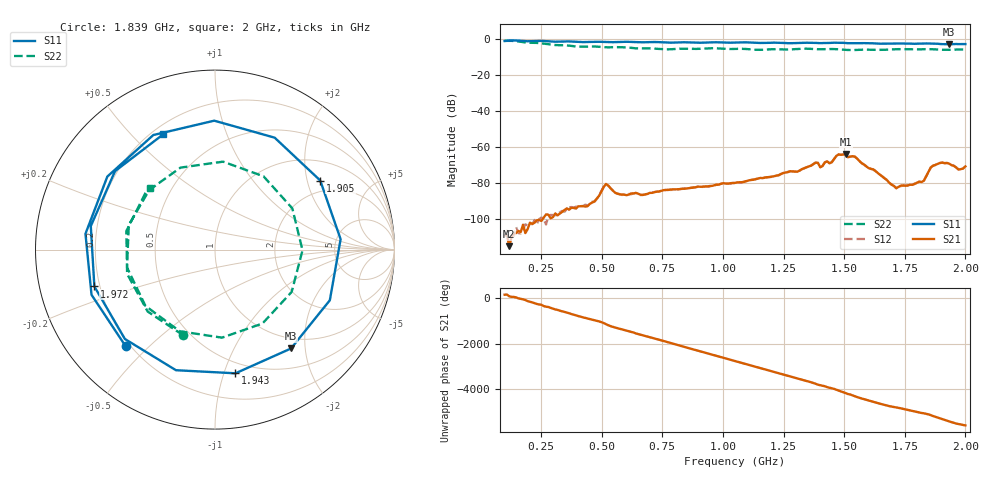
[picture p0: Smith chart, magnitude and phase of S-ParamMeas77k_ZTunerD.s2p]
!Keysight Technologies,N5242B,MY48420967,A.15.65.19
!Date: Monday, December 19, 2022 10:54:48
!Correction: S11(C  2-Port  )
!S21(C  2-Port  )
!S12(C  2-Port  )
!S22(C  2-Port  )
!S2P File: Measurements: S11, S21, S12, S22:
# Hz S  dB  R 50
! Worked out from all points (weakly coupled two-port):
!   201 points, 100 MHz to 2 GHz, reference 50 ohm
!   highest |S21| = -64.18 dB at 1.506 GHz (marker M1); lowest = -115.4 dB at 119 MHz (marker M2)
!   lowest |S11| = -3.2 dB at 1.933 GHz (marker M3), VSWR 5.55, Z = 40.7 - j86.7 ohm
!   |S11| at or under -10 dB: nowhere
!   |S22| runs from -6.4 to -1.2 dB; largest |S21 - S12| = 7.2e-06
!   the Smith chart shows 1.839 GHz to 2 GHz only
!   S11 on the Smith chart (normalised r, x): 1.839 GHz: 0.18, -0.42; 1.905 GHz: 1.59, +2.41; 1.943 GHz: 0.41, -1.09; 1.972 GHz: 0.18, -0.14; 2 GHz: 0.24, +0.62
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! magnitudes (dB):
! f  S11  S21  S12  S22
! 100 MHz  -1.3  -109.3  -109.9  -1.3
! 119 MHz  -1.1  -115.4  -108.8  -1.2
! 423 MHz  -1.9  -93.1  -93.0  -4.5
! 736.5 MHz  -2.0  -85.0  -85.0  -5.7
! 1.05 GHz  -2.2  -80.2  -80.3  -5.8
! 1.306 GHz  -2.5  -74.0  -74.1  -5.8
! 1.373 GHz  -2.4  -69.8  -69.8  -5.8
! 1.392 GHz  -2.5  -69.1  -69.1  -5.9
! 1.401 GHz  -2.5  -71.5  -71.4  -5.9
! 1.449 GHz  -2.3  -68.7  -68.7  -5.8
! 1.478 GHz  -2.4  -64.4  -64.4  -6.0
! 1.506 GHz  -2.5  -64.2  -64.2  -6.3
! 1.544 GHz  -2.6  -65.6  -65.6  -6.4
! 1.687 GHz  -2.8  -80.2  -80.1  -6.1
! 1.819 GHz  -2.8  -79.8  -79.6  -5.9
! 1.839 GHz  -2.7  -76.4  -76.4  -5.9
! 1.857 GHz  -2.8  -71.5  -71.6  -5.9
! 1.905 GHz  -3.1  -68.9  -68.9  -6.2
! 1.933 GHz  -3.2  -69.5  -69.5  -6.2
! 1.943 GHz  -3.1  -70.3  -70.3  -6.2
! 1.972 GHz  -3.1  -72.8  -72.7  -6.0
! 2 GHz  -3.0  -71.0  -71.0  -6.1
